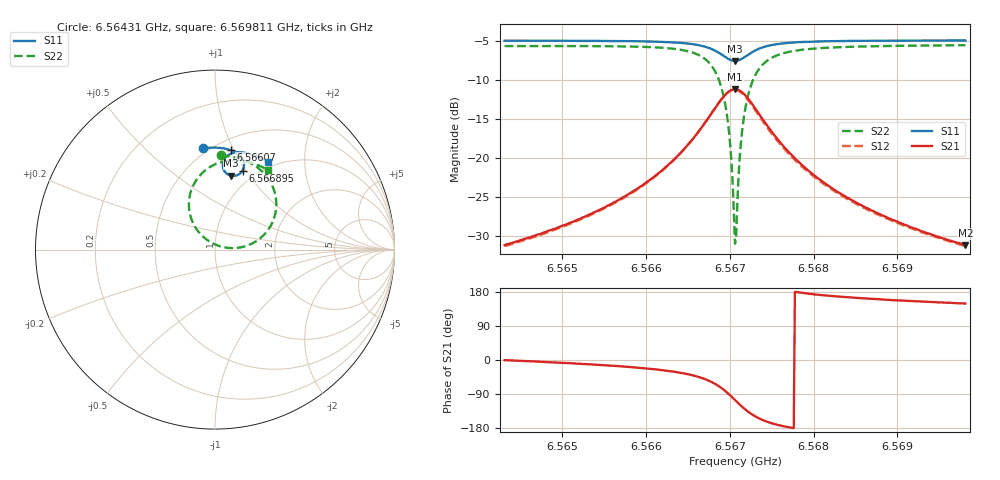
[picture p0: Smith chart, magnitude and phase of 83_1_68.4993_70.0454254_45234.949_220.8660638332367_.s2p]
#  HZ  S  RI  R  50.00
! Rohde & Schwarz Vector Network Analyzer
! Rohde-Schwarz,ZNB20-2Port,1311601062101988,3.16
! Created: UTC 3/20/2024, 5:07:22 PM
! freq[Hz]  re:S11  im:S11  re:S21  im:S21  re:S12  im:S12  re:S22  im:S22
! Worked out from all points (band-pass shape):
!   401 points, 6.56431 GHz to 6.569811 GHz, reference 50 ohm
!   highest |S21| = -11.14 dB at 6.56706 GHz (marker M1); lowest = -31.2 dB at 6.569811 GHz (marker M2)
!   |S21| within 3 dB of the highest: 6.566786 GHz to 6.567336 GHz (550.1 kHz wide, 0.00838 % of centre)
!   lowest |S11| = -7.5 dB at 6.56706 GHz (marker M3), VSWR 2.46, Z = 41.2 + j41.2 ohm
!   |S11| at or under -10 dB: nowhere
!   |S22| runs from -31.0 to -5.5 dB; largest |S21 - S12| = 0.013
!   S11 on the Smith chart (normalised r, x): 6.56431 GHz: 0.46, +0.78; 6.56607 GHz: 0.60, +0.97; 6.566895 GHz: 0.86, +0.97; 6.569811 GHz: 0.92, +1.33
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6.5643096e9  -0.0665 0.5651  0.0276 -0.000264  0.0272 -0.000585  0.033 0.5243
6.565231e9  0.00871 0.5679  0.0407 -0.00748  0.04 -0.00787  0.1195 0.5115
6.5660699e9  0.0864 0.555  0.068 -0.03  0.067 -0.0305  0.2269 0.4643
6.5661524e9  0.0951 0.5518  0.0726 -0.0348  0.0714 -0.0356  0.2408 0.4541
6.566455e9  0.1298 0.5328  0.0935 -0.0668  0.0919 -0.068  0.2995 0.3911
6.566675e9  0.1549 0.5021  0.1071 -0.1204  0.1047 -0.1227  0.3391 0.2877
6.5667988e9  0.1617 0.4711  0.0999 -0.1742  0.0957 -0.1775  0.332 0.1849
6.5668951e9  0.1533 0.4399  0.0678 -0.2278  0.0605 -0.2308  0.275 0.0847
6.5669776e9  0.1281 0.4165  0.008 -0.2654  -0.00268 -0.2655  0.1655 0.0178
6.5670051e9  0.1161 0.4122  -0.0184 -0.2712  -0.0298 -0.2697  0.1176 0.00904
6.5670463e9  0.0962 0.4108  -0.0604 -0.2704  -0.072 -0.2658  0.0428 0.0144
6.5670601e9  0.0896 0.4117  -0.0744 -0.2672  -0.0859 -0.2616  0.0182 0.0215
6.5670739e9  0.0831 0.4137  -0.0881 -0.2628  -0.099 -0.256  -0.00502 0.031
6.5670876e9  0.0769 0.4161  -0.1013 -0.257  -0.1115 -0.2493  -0.0272 0.0427
6.5671289e9  0.0607 0.4274  -0.1353 -0.2329  -0.1433 -0.2231  -0.0835 0.0893
6.5671701e9  0.0497 0.4423  -0.1597 -0.2027  -0.165 -0.1917  -0.1213 0.1457
6.5672251e9  0.0431 0.4638  -0.1767 -0.16  -0.1787 -0.1492  -0.1436 0.2222
6.5672939e9  0.0452 0.4879  -0.1792 -0.113  -0.1783 -0.1037  -0.1397 0.3042
6.5675414e9  0.0838 0.5321  -0.1356 -0.0248  -0.1327 -0.0209  -0.0414 0.4514
6.5679815e9  0.1445 0.5422  -0.0789 0.00852  -0.0771 0.00975  0.0882 0.4972
6.568903e9  0.2295 0.5209  -0.038 0.0149  -0.0374 0.0151  0.2181 0.4788
6.5698106e9  0.2962 0.4879  -0.0236 0.0142  -0.0231 0.0143  0.2965 0.442
